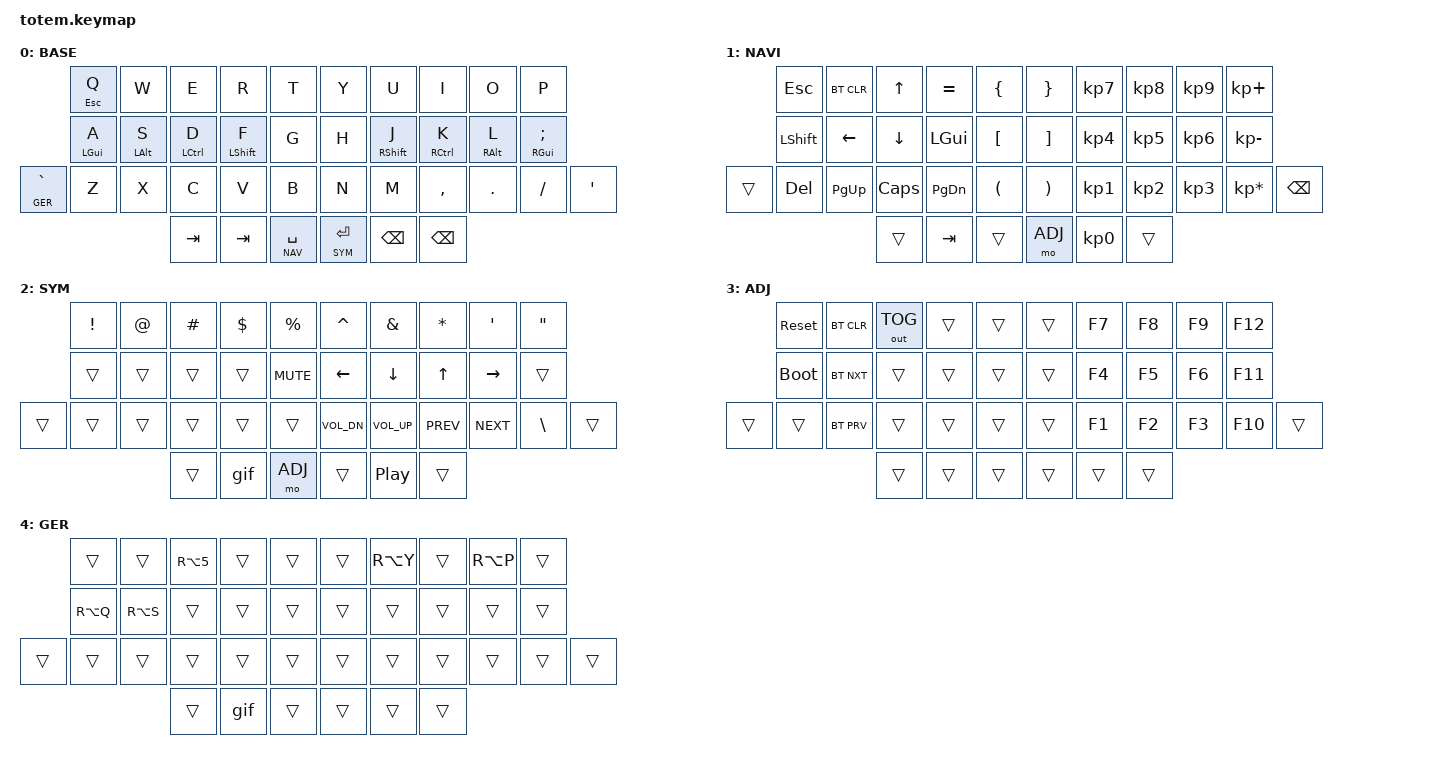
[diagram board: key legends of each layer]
//
//                                                        ▀▀▀▀▀     ▀▀▀▀▀          ▀▀█▀▀
//                                                        ▄▀▀▀▄  ▄  ▄▀▀▀▄  ▄  ▄▀▀▀▄  █  ▄▀▀▀▄
//                                                        █   █  █  █   █  █  █   █  █  █   █
//                                                         ▀▀▀   █   ▀▀▀   █   ▀▀▀   ▀   ▀▀▀
//                                                               █      ▄▄▄█▄▄▄    █   █  
//                                                               ▀      █  █  █     █▄█
//                                                             ▀▀▀▀▀    █  █  █      ▀
//                                                                      ▀  ▀  ▀
//
// ▄▄▄▄▄▄▄▄▄▄▄▄▄▄▄▄▄▄▄▄▄▄▄▄▄▄▄▄▄▄▄▄▄▄▄▄▄▄▄▄▄▄▄▄▄▄▄▄▄▄▄▄▄▄▄▄▄▄▄▄▄▄▄▄▄▄▄▄▄▄▄▄▄▄▄▄▄▄▄▄▄▄▄▄▄▄▄▄▄▄▄▄▄▄▄▄▄▄▄▄▄▄▄▄▄▄▄▄▄▄▄▄▄▄▄▄▄▄▄▄▄▄▄▄▄▄▄▄▄▄▄▄▄▄▄▄▄▄▄▄▄▄▄▄▄▄▄▄▄
       

#include <behaviors.dtsi>
#include <dt-bindings/zmk/keys.h>
#include <dt-bindings/zmk/bt.h>
#include <dt-bindings/zmk/outputs.h>

#define BASE 0
#define NAV  1
#define SYM  2
#define ADJ  3
#define GER  4

&mt {
  quick-tap-ms = <200>;
  global-quick-tap;
  flavor = "tap-preferred";
  tapping-term-ms = <170>;
};

/ {
    combos {
            compatible = "zmk,combos";
            combo_esc {
                timeout-ms = <50>;
                key-positions = <0 1>;
                bindings = <&kp ESC>;
            };
    };

    macros {
        gif: gif {
            label = "giphy";
            compatible = "zmk,behavior-macro";
            #binding-cells = <0>;
            bindings
                = <&macro_press &kp LSHFT>
                , <&macro_tap &kp N2>
                , <&macro_release &kp LSHFT>
                , <&macro_tap &kp G &kp I &kp F>
                ;
        };
    };

        keymap {
                compatible = "zmk,keymap";
// ▄▄▄▄▄▄▄▄▄▄▄▄▄▄▄▄▄▄▄▄▄▄▄▄▄▄▄▄▄▄▄▄▄▄▄▄▄▄▄▄▄▄▄▄▄▄▄▄▄▄▄▄▄▄▄▄▄▄▄▄▄▄▄▄▄▄▄▄▄▄▄▄▄▄▄▄▄▄▄▄▄▄▄▄▄▄▄▄▄▄▄▄▄▄▄▄▄▄▄▄▄▄▄▄▄▄▄▄▄▄▄▄▄▄▄▄▄▄▄▄▄▄▄▄▄▄▄▄▄▄▄▄▄▄▄▄▄▄▄▄▄▄▄▄▄▄▄▄▄

                base_layer {
// ┏━━━━━━━━━━━━━━━━━━━━━━━━━━━━━━━━━━━━━━━┓
label= "BASE"                              ;
// ┗━━━━━━━━━━━━━━━━━━━━━━━━━━━━━━━━━━━━━━━┛
//             ┏━━━━━━━━━━━┳━━━━━━━━━━━┳━━━━━━━━━━━┳━━━━━━━━━━━┳━━━━━━━━━━━┓   ┏━━━━━━━━━━━┳━━━━━━━━━━━┳━━━━━━━━━━━┳━━━━━━━━━━━┳━━━━━━━━━━━┓
//             ┃     Q     ┃     W     ┃     E     ┃     R     ┃     T     ┃   ┃     Y     ┃     U     ┃     I     ┃     O     ┃     P     ┃
//             ┣━━━━━━━━━━━╋━━━━━━━━━━━╋━━━━━━━━━━━╋━━━━━━━━━━━╋━━━━━━━━━━━┫   ┣━━━━━━━━━━━╋━━━━━━━━━━━╋━━━━━━━━━━━╋━━━━━━━━━━━╋━━━━━━━━━━━┫
//             ┃     A     ┃     S     ┃     D     ┃     F     ┃     G     ┃   ┃     H     ┃     J     ┃     K     ┃     L     ┃     ;     ┃
// ┏━━━━━━━━━━━╋━━━━━━━━━━━╋━━━━━━━━━━━╋━━━━━━━━━━━╋━━━━━━━━━━━╋━━━━━━━━━━━┫   ┣━━━━━━━━━━━╋━━━━━━━━━━━╋━━━━━━━━━━━╋━━━━━━━━━━━╋━━━━━━━━━━━╋━━━━━━━━━━━┓
// ┃     `     ┃     Z     ┃     X     ┃     C     ┃     V     ┃     B     ┃   ┃     N     ┃     M     ┃     ,     ┃     .     ┃     /     ┃     '     ┃
// ┗━━━━━━━━━━━┻━━━━━━━━━━━┻━━━━━━━━━━━╋━━━━━━━━━━━╋━━━━━━━━━━━╋━━━━━━━━━━━┫   ┣━━━━━━━━━━━╋━━━━━━━━━━━╋━━━━━━━━━━━╋━━━━━━━━━━━┻━━━━━━━━━━━┻━━━━━━━━━━━┛
//                                     ┃    TAB    ┃    NAV    ┃    SPC    ┃   ┃   ENTER   ┃   BSPC    ┃   BSPC    ┃
//                                     ┗━━━━━━━━━━━┻━━━━━━━━━━━┻━━━━━━━━━━━┛   ┗━━━━━━━━━━━┻━━━━━━━━━━━┻━━━━━━━━━━━┛
 bindings = <
// ╷           ╷           ╷           ╷           ╷           ╷           ╷   ╷           ╷           ╷           ╷           ╷           ╷           ╷

                &mt ESC Q       &kp W       &kp E       &kp R       &kp T           &kp Y       &kp U       &kp I       &kp O       &kp P
                &mt LGUI A  &mt LALT S  &mt LCTRL D &mt LSHFT F &kp G           &kp H       &mt RSHFT J &mt RCTRL K &mt RALT L  &mt RGUI SEMI
&lt GER GRAVE   &kp Z       &kp X       &kp C       &kp V       &kp B           &kp N       &kp M       &kp COMMA   &kp DOT     &kp FSLH    &kp SINGLE_QUOTE
                                        &kp TAB     &kp TAB     &lt NAV SPACE   &lt SYM RET &kp BSPC    &kp BSPC
                        >;
                };

// ▄▄▄▄▄▄▄▄▄▄▄▄▄▄▄▄▄▄▄▄▄▄▄▄▄▄▄▄▄▄▄▄▄▄▄▄▄▄▄▄▄▄▄▄▄▄▄▄▄▄▄▄▄▄▄▄▄▄▄▄▄▄▄▄▄▄▄▄▄▄▄▄▄▄▄▄▄▄▄▄▄▄▄▄▄▄▄▄▄▄▄▄▄▄▄▄▄▄▄▄▄▄▄▄▄▄▄▄▄▄▄▄▄▄▄▄▄▄▄▄▄▄▄▄▄▄▄▄▄▄▄▄▄▄▄▄▄▄▄▄▄▄▄▄▄▄▄▄▄


                nav_layer {
// ┏━━━━━━━━━━━━━━━━━━━━━━━━━━━━━━━━━━━━━━━┓
label= "NAVI"                              ;
// ┗━━━━━━━━━━━━━━━━━━━━━━━━━━━━━━━━━━━━━━━┛
//             ┏━━━━━━━━━━━┳━━━━━━━━━━━┳━━━━━━━━━━━┳━━━━━━━━━━━┳━━━━━━━━━━━┓   ┏━━━━━━━━━━━┳━━━━━━━━━━━┳━━━━━━━━━━━┳━━━━━━━━━━━┳━━━━━━━━━━━┓
//             ┃           ┃           ┃     UP    ┃           ┃     {     ┃   ┃     }     ┃     7     ┃     8     ┃     9     ┃     +     ┃
//             ┣━━━━━━━━━━━╋━━━━━━━━━━━╋━━━━━━━━━━━╋━━━━━━━━━━━╋━━━━━━━━━━━┫   ┣━━━━━━━━━━━╋━━━━━━━━━━━╋━━━━━━━━━━━╋━━━━━━━━━━━╋━━━━━━━━━━━┫
//             ┃   SHIFT   ┃   LEFT    ┃    DOWN   ┃   LGUI    ┃     [     ┃   ┃     ]     ┃     4     ┃     5     ┃     6     ┃     -     ┃
// ┏━━━━━━━━━━━╋━━━━━━━━━━━╋━━━━━━━━━━━╋━━━━━━━━━━━╋━━━━━━━━━━━╋━━━━━━━━━━━┫   ┣━━━━━━━━━━━╋━━━━━━━━━━━╋━━━━━━━━━━━╋━━━━━━━━━━━╋━━━━━━━━━━━╋━━━━━━━━━━━┓
// ┃           ┃           ┃   P UP    ┃  C LOCK   ┃  P DOWN   ┃     (     ┃   ┃     )     ┃     1     ┃     2     ┃     3     ┃     *     ┃           ┃
// ┗━━━━━━━━━━━┻━━━━━━━━━━━┻━━━━━━━━━━━╋━━━━━━━━━━━╋━━━━━━━━━━━╋━━━━━━━━━━━┫   ┣━━━━━━━━━━━╋━━━━━━━━━━━╋━━━━━━━━━━━╋━━━━━━━━━━━┻━━━━━━━━━━━┻━━━━━━━━━━━┛
//                                     ┃           ┃           ┃           ┃   ┃    ADJ    ┃     0     ┃           ┃
//                                     ┗━━━━━━━━━━━┻━━━━━━━━━━━┻━━━━━━━━━━━┛   ┗━━━━━━━━━━━┻━━━━━━━━━━━┻━━━━━━━━━━━┛
 bindings = <
// ╷           ╷           ╷           ╷           ╷           ╷           ╷   ╷           ╷           ╷           ╷           ╷           ╷           ╷

                &kp ESC     &bt BT_CLR  &kp UP      &kp EQUAL   &kp LBRC        &kp RBRC    &kp KP_N7   &kp KP_N8   &kp KP_N9   &kp KP_PLUS
                &kp LSHFT   &kp LEFT    &kp DOWN    &kp LGUI    &kp LBKT        &kp RBKT    &kp KP_N4   &kp KP_N5   &kp KP_N6   &kp KP_MINUS
    &trans      &kp DEL     &kp PG_UP   &kp CAPS    &kp PG_DN   &kp LPAR        &kp RPAR    &kp KP_N1   &kp KP_N2   &kp KP_N3   &kp KP_MULTIPLY &kp BSPC      
                                        &trans      &kp TAB     &trans          &mo ADJ     &kp KP_N0   &trans      
                        >;
                };

// ▄▄▄▄▄▄▄▄▄▄▄▄▄▄▄▄▄▄▄▄▄▄▄▄▄▄▄▄▄▄▄▄▄▄▄▄▄▄▄▄▄▄▄▄▄▄▄▄▄▄▄▄▄▄▄▄▄▄▄▄▄▄▄▄▄▄▄▄▄▄▄▄▄▄▄▄▄▄▄▄▄▄▄▄▄▄▄▄▄▄▄▄▄▄▄▄▄▄▄▄▄▄▄▄▄▄▄▄▄▄▄▄▄▄▄▄▄▄▄▄▄▄▄▄▄▄▄▄▄▄▄▄▄▄▄▄▄▄▄▄▄▄▄▄▄▄▄▄▄


                sim_layer {
// ┏━━━━━━━━━━━━━━━━━━━━━━━━━━━━━━━━━━━━━━━┓
label= "SYM"                               ;
// ┗━━━━━━━━━━━━━━━━━━━━━━━━━━━━━━━━━━━━━━━┛
//             ┏━━━━━━━━━━━┳━━━━━━━━━━━┳━━━━━━━━━━━┳━━━━━━━━━━━┳━━━━━━━━━━━┓   ┏━━━━━━━━━━━┳━━━━━━━━━━━┳━━━━━━━━━━━┳━━━━━━━━━━━┳━━━━━━━━━━━┓
//             ┃     !     ┃     @     ┃     #     ┃     $     ┃     %     ┃   ┃     ˆ     ┃     &     ┃     *     ┃     '     ┃     "     ┃
//             ┣━━━━━━━━━━━╋━━━━━━━━━━━╋━━━━━━━━━━━╋━━━━━━━━━━━╋━━━━━━━━━━━┫   ┣━━━━━━━━━━━╋━━━━━━━━━━━╋━━━━━━━━━━━╋━━━━━━━━━━━╋━━━━━━━━━━━┫
//             ┃           ┃           ┃           ┃   SHIFT   ┃           ┃   ┃    LEFT   ┃    DOWN   ┃     UP    ┃   RIGHT   ┃           ┃
// ┏━━━━━━━━━━━╋━━━━━━━━━━━╋━━━━━━━━━━━╋━━━━━━━━━━━╋━━━━━━━━━━━╋━━━━━━━━━━━┫   ┣━━━━━━━━━━━╋━━━━━━━━━━━╋━━━━━━━━━━━╋━━━━━━━━━━━╋━━━━━━━━━━━╋━━━━━━━━━━━┓
// ┃           ┃           ┃           ┃           ┃           ┃           ┃   ┃   VOL-    ┃   VOL+    ┃   LAST    ┃   NEXT    ┃     \     ┃           ┃
// ┗━━━━━━━━━━━┻━━━━━━━━━━━┻━━━━━━━━━━━╋━━━━━━━━━━━╋━━━━━━━━━━━╋━━━━━━━━━━━┫   ┣━━━━━━━━━━━╋━━━━━━━━━━━╋━━━━━━━━━━━╋━━━━━━━━━━━┻━━━━━━━━━━━┻━━━━━━━━━━━┛
//                                     ┃           ┃    GIF    ┃    ADJ    ┃   ┃           ┃           ┃           ┃
//                                     ┗━━━━━━━━━━━┻━━━━━━━━━━━┻━━━━━━━━━━━┛   ┗━━━━━━━━━━━┻━━━━━━━━━━━┻━━━━━━━━━━━┛
 bindings = <
// ╷           ╷           ╷           ╷           ╷           ╷           ╷   ╷           ╷           ╷           ╷           ╷           ╷           ╷

                &kp EXCL    &kp AT      &kp HASH    &kp DLLR    &kp PRCNT       &kp CARET   &kp AMPS    &kp STAR   &kp SQT     &kp DQT       
                &trans      &trans      &trans      &trans          &kp C_MUTE  &kp LEFT    &kp DOWN    &kp UP     &kp RIGHT   &trans
    &trans      &trans      &trans      &trans      &trans      &trans          &kp C_VOL_DN &kp C_VOL_UP &kp C_PREV    &kp C_NEXT  &kp BSLH   &trans         
                                        &trans      &gif        &mo ADJ         &trans      &kp C_PP    &trans      
                        >;
                };

// ▄▄▄▄▄▄▄▄▄▄▄▄▄▄▄▄▄▄▄▄▄▄▄▄▄▄▄▄▄▄▄▄▄▄▄▄▄▄▄▄▄▄▄▄▄▄▄▄▄▄▄▄▄▄▄▄▄▄▄▄▄▄▄▄▄▄▄▄▄▄▄▄▄▄▄▄▄▄▄▄▄▄▄▄▄▄▄▄▄▄▄▄▄▄▄▄▄▄▄▄▄▄▄▄▄▄▄▄▄▄▄▄▄▄▄▄▄▄▄▄▄▄▄▄▄▄▄▄▄▄▄▄▄▄▄▄▄▄▄▄▄▄▄▄▄▄▄▄▄


                adjust_layer {
// ┏━━━━━━━━━━━━━━━━━━━━━━━━━━━━━━━━━━━━━━━┓
label= "ADJ"                               ;
// ┗━━━━━━━━━━━━━━━━━━━━━━━━━━━━━━━━━━━━━━━┛
//             ┏━━━━━━━━━━━┳━━━━━━━━━━━┳━━━━━━━━━━━┳━━━━━━━━━━━┳━━━━━━━━━━━┓   ┏━━━━━━━━━━━┳━━━━━━━━━━━┳━━━━━━━━━━━┳━━━━━━━━━━━┳━━━━━━━━━━━┓
//             ┃   RESET   ┃ BT CLEAR  ┃  OUT TOG  ┃           ┃           ┃   ┃           ┃    F7     ┃    F8     ┃    F9     ┃    F12    ┃
//             ┣━━━━━━━━━━━╋━━━━━━━━━━━╋━━━━━━━━━━━╋━━━━━━━━━━━╋━━━━━━━━━━━┫   ┣━━━━━━━━━━━╋━━━━━━━━━━━╋━━━━━━━━━━━╋━━━━━━━━━━━╋━━━━━━━━━━━┫
//             ┃ BOOTLOAD  ┃ BT NEXT   ┃           ┃           ┃           ┃   ┃           ┃    F4     ┃    F5     ┃    F6     ┃    F11    ┃
// ┏━━━━━━━━━━━╋━━━━━━━━━━━╋━━━━━━━━━━━╋━━━━━━━━━━━╋━━━━━━━━━━━╋━━━━━━━━━━━┫   ┣━━━━━━━━━━━╋━━━━━━━━━━━╋━━━━━━━━━━━╋━━━━━━━━━━━╋━━━━━━━━━━━╋━━━━━━━━━━━┓
// ┃           ┃           ┃ BT PREV   ┃           ┃           ┃           ┃   ┃           ┃    F1     ┃    F2     ┃    F3     ┃    F10    ┃           ┃
// ┗━━━━━━━━━━━┻━━━━━━━━━━━┻━━━━━━━━━━━╋━━━━━━━━━━━╋━━━━━━━━━━━╋━━━━━━━━━━━┫   ┣━━━━━━━━━━━╋━━━━━━━━━━━╋━━━━━━━━━━━╋━━━━━━━━━━━┻━━━━━━━━━━━┻━━━━━━━━━━━┛
//                                     ┃           ┃           ┃           ┃   ┃           ┃           ┃           ┃
//                                     ┗━━━━━━━━━━━┻━━━━━━━━━━━┻━━━━━━━━━━━┛   ┗━━━━━━━━━━━┻━━━━━━━━━━━┻━━━━━━━━━━━┛
 bindings = <
// ╷           ╷           ╷           ╷           ╷           ╷           ╷   ╷           ╷           ╷           ╷           ╷           ╷           ╷

                &sys_reset  &bt BT_CLR &out OUT_TOG &trans      &trans          &trans      &kp F7      &kp F8      &kp F9      &kp F12
                &bootloader &bt BT_NXT  &trans      &trans      &trans          &trans      &kp F4      &kp F5      &kp F6      &kp F11  
    &trans      &trans      &bt BT_PRV  &trans      &trans      &trans          &trans      &kp F1      &kp F2      &kp F3      &kp F10     &trans         
                                        &trans      &trans      &trans          &trans      &trans      &trans      
                        >;
                };

// ▄▄▄▄▄▄▄▄▄▄▄▄▄▄▄▄▄▄▄▄▄▄▄▄▄▄▄▄▄▄▄▄▄▄▄▄▄▄▄▄▄▄▄▄▄▄▄▄▄▄▄▄▄▄▄▄▄▄▄▄▄▄▄▄▄▄▄▄▄▄▄▄▄▄▄▄▄▄▄▄▄▄▄▄▄▄▄▄▄▄▄▄▄▄▄▄▄▄▄▄▄▄▄▄▄▄▄▄▄▄▄▄▄▄▄▄▄▄▄▄▄▄▄▄▄▄▄▄▄▄▄▄▄▄▄▄▄▄▄▄▄▄▄▄▄▄▄▄▄


                ger_layer {
// ┏━━━━━━━━━━━━━━━━━━━━━━━━━━━━━━━━━━━━━━━┓
label= "GER"                               ;
// ┗━━━━━━━━━━━━━━━━━━━━━━━━━━━━━━━━━━━━━━━┛
//             ┏━━━━━━━━━━━┳━━━━━━━━━━━┳━━━━━━━━━━━┳━━━━━━━━━━━┳━━━━━━━━━━━┓   ┏━━━━━━━━━━━┳━━━━━━━━━━━┳━━━━━━━━━━━┳━━━━━━━━━━━┳━━━━━━━━━━━┓
//             ┃           ┃           ┃     €     ┃           ┃           ┃   ┃           ┃     Ü     ┃           ┃     Ö     ┃           ┃
//             ┣━━━━━━━━━━━╋━━━━━━━━━━━╋━━━━━━━━━━━╋━━━━━━━━━━━╋━━━━━━━━━━━┫   ┣━━━━━━━━━━━╋━━━━━━━━━━━╋━━━━━━━━━━━╋━━━━━━━━━━━╋━━━━━━━━━━━┫
//             ┃     Ä     ┃     SZ    ┃           ┃           ┃           ┃   ┃           ┃           ┃           ┃           ┃           ┃
// ┏━━━━━━━━━━━╋━━━━━━━━━━━╋━━━━━━━━━━━╋━━━━━━━━━━━╋━━━━━━━━━━━╋━━━━━━━━━━━┫   ┣━━━━━━━━━━━╋━━━━━━━━━━━╋━━━━━━━━━━━╋━━━━━━━━━━━╋━━━━━━━━━━━╋━━━━━━━━━━━┓
// ┃           ┃           ┃           ┃           ┃           ┃           ┃   ┃           ┃           ┃           ┃           ┃           ┃           ┃
// ┗━━━━━━━━━━━┻━━━━━━━━━━━┻━━━━━━━━━━━╋━━━━━━━━━━━╋━━━━━━━━━━━╋━━━━━━━━━━━┫   ┣━━━━━━━━━━━╋━━━━━━━━━━━╋━━━━━━━━━━━╋━━━━━━━━━━━┻━━━━━━━━━━━┻━━━━━━━━━━━┛
//                                     ┃           ┃    GIF    ┃           ┃   ┃           ┃           ┃           ┃
//                                     ┗━━━━━━━━━━━┻━━━━━━━━━━━┻━━━━━━━━━━━┛   ┗━━━━━━━━━━━┻━━━━━━━━━━━┻━━━━━━━━━━━┛
 bindings = <
// ╷           ╷           ╷           ╷           ╷           ╷           ╷   ╷           ╷           ╷           ╷           ╷           ╷           ╷

                &trans      &trans      &kp RA(5)   &trans      &trans          &trans      &kp RA(Y)    &trans     &kp RA(P)     &trans       
                &kp RA(Q)   &kp RA(S)   &trans      &trans      &trans          &trans      &trans       &trans     &trans        &trans
    &trans      &trans      &trans      &trans      &trans      &trans          &trans      &trans       &trans     &trans       &trans   &trans         
                                        &trans      &gif        &trans          &trans      &trans    &trans      
                        >;
                };
        };
};
